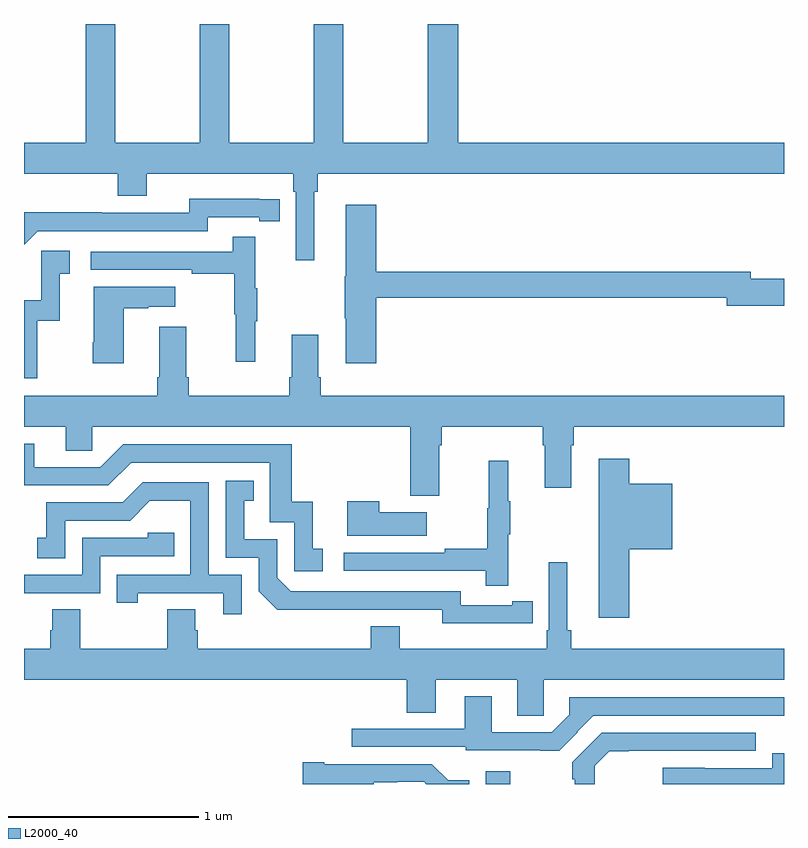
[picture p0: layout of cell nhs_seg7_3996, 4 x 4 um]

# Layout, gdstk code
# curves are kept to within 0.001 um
import gdstk
lib = gdstk.Library(unit=1e-6, precision=1e-09)
def R(c, l, rs):  # rectangles x0, y0, x1, y1
    for r in rs: c.add(gdstk.rectangle(r[:2], r[2:], *l))
def P(c, l, *ps):  # polygons
    for p in ps: c.add(gdstk.Polygon(p, *l))
L2000_40 = (2000, 40)

nhs_seg7_3996 = lib.new_cell('nhs_seg7_3996')
R(nhs_seg7_3996, L2000_40, [(365.429,1068,365.559,1068.067)])
P(nhs_seg7_3996, L2000_40, [(364.418,1071.116),(364.431,1071.116),(364.431,1070.757),(364.528,1070.757),(364.528,1071.116),(364.547,1071.116),(364.547,1071.212),(367,1071.212),(367,1071.376),(365.285,1071.376),(365.285,1072),(365.125,1072),(365.125,1071.376),(364.68,1071.376),(364.68,1072),(364.525,1072),(364.525,1071.376),(364.08,1071.376),(364.08,1072),(363.925,1072),(363.925,1071.376),(363.48,1071.376),(363.48,1072),(363.325,1072),(363.325,1071.376),(363,1071.376),(363,1071.212),(363.494,1071.212),(363.494,1071.095),(363.646,1071.095),(363.646,1071.212),(364.418,1071.212)],
  [(363.072,1070.91),(363.966,1070.91),(363.966,1070.982),(364.238,1070.982),(364.238,1070.962),(364.346,1070.962),(364.346,1071.078),(363.87,1071.079),(363.87,1071.006),(363.41,1071.006),(363.41,1071.008),(363.002,1071.008),(363,1071.006),(363,1070.838)],
  [(364.853,1070.56),(366.698,1070.56),(366.698,1070.518),(367,1070.518),(367,1070.66),(366.826,1070.66),(366.826,1070.696),(364.853,1070.696),(364.853,1071.049),(364.694,1071.049),(364.694,1070.673),(364.687,1070.673),(364.687,1070.452),(364.694,1070.452),(364.694,1070.214),(364.853,1070.214)],
  [(364.217,1070.435),(364.228,1070.435),(364.228,1070.609),(364.217,1070.609),(364.217,1070.881),(364.099,1070.881),(364.099,1070.802),(363.351,1070.802),(363.351,1070.706),(363.883,1070.706),(363.883,1070.686),(364.107,1070.686),(364.107,1070.472),(364.114,1070.472),(364.114,1070.223),(364.217,1070.223)],
  [(363.07,1070.439),(363.188,1070.439),(363.188,1070.685),(363.241,1070.685),(363.241,1070.806),(363.09,1070.806),(363.09,1070.547),(363,1070.547),(363,1070.136),(363.07,1070.136)],
  [(363.526,1070.503),(363.653,1070.503),(363.653,1070.513),(363.796,1070.513),(363.796,1070.617),(363.368,1070.617),(363.368,1070.326),(363.361,1070.326),(363.361,1070.214),(363.526,1070.214)],
  [(365.185,1069.784),(365.198,1069.784),(365.198,1069.88),(365.729,1069.88),(365.729,1069.784),(365.741,1069.784),(365.741,1069.56),(365.881,1069.56),(365.881,1069.784),(365.894,1069.784),(365.894,1069.88),(367,1069.88),(367,1070.044),(364.562,1070.044),(364.562,1070.14),(364.549,1070.14),(364.549,1070.365),(364.409,1070.365),(364.409,1070.14),(364.397,1070.14),(364.397,1070.044),(363.866,1070.044),(363.866,1070.14),(363.853,1070.14),(363.853,1070.407),(363.713,1070.407),(363.713,1070.14),(363.701,1070.14),(363.701,1070.044),(363,1070.044),(363,1069.88),(363.221,1069.88),(363.221,1069.753),(363.36,1069.753),(363.36,1069.88),(365.033,1069.88),(365.033,1069.518),(365.185,1069.518)],
  [(364.573,1069.239),(364.52,1069.239),(364.52,1069.486),(364.409,1069.486),(364.409,1069.788),(363.522,1069.788),(363.402,1069.668),(363.055,1069.668),(363.055,1069.791),(363,1069.791),(363,1069.572),(363.444,1069.572),(363.564,1069.692),(364.293,1069.692),(364.293,1069.377),(364.422,1069.377),(364.422,1069.119),(364.573,1069.119)],
  [(366.185,1069.235),(366.412,1069.235),(366.412,1069.579),(366.185,1069.579),(366.185,1069.711),(366.026,1069.711),(366.026,1068.876),(366.185,1068.876)],
  [(365.549,1069.315),(365.56,1069.315),(365.56,1069.489),(365.549,1069.489),(365.549,1069.702),(365.446,1069.702),(365.446,1069.452),(365.439,1069.452),(365.439,1069.238),(365.215,1069.238),(365.215,1069.218),(364.683,1069.218),(364.683,1069.122),(365.431,1069.122),(365.431,1069.044),(365.549,1069.044)],
  [(365.57,1068.846),(365.678,1068.846),(365.678,1068.962),(365.57,1068.962),(365.57,1068.942),(365.298,1068.942),(365.298,1069.014),(364.404,1069.014),(364.332,1069.086),(364.332,1069.287),(364.159,1069.287),(364.159,1069.491),(364.208,1069.491),(364.208,1069.597),(364.062,1069.597),(364.062,1069.191),(364.236,1069.191),(364.236,1069.014),(364.334,1068.917),(365.202,1068.918),(365.202,1068.845)],
  [(363.598,1068.954),(363.598,1069.005),(364.049,1069.005),(364.049,1068.894),(364.146,1068.894),(364.146,1069.101),(363.972,1069.101),(363.972,1069.587),(363.626,1069.587),(363.521,1069.482),(363.118,1069.482),(363.118,1069.297),(363.069,1069.297),(363.069,1069.188),(363.216,1069.188),(363.216,1069.386),(363.558,1069.386),(363.662,1069.49),(363.876,1069.49),(363.876,1069.101),(363.487,1069.101),(363.487,1068.954)],
  [(365.119,1069.429),(364.871,1069.429),(364.871,1069.489),(364.7,1069.489),(364.7,1069.307),(365.119,1069.307)],
  [(363.402,1069.2),(363.791,1069.2),(363.791,1069.323),(363.651,1069.323),(363.651,1069.296),(363.306,1069.296),(363.306,1069.101),(363,1069.101),(363,1069.005),(363.402,1069.005)],
  [(365.736,1068.548),(367,1068.548),(367,1068.712),(365.879,1068.712),(365.879,1068.808),(365.86,1068.808),(365.86,1069.168),(365.763,1069.168),(365.763,1068.808),(365.75,1068.808),(365.75,1068.712),(364.978,1068.712),(364.978,1068.829),(364.826,1068.829),(364.826,1068.712),(363.914,1068.712),(363.914,1068.81),(363.901,1068.81),(363.901,1068.92),(363.754,1068.92),(363.754,1068.712),(363.297,1068.712),(363.297,1068.92),(363.149,1068.92),(363.149,1068.81),(363.137,1068.81),(363.137,1068.712),(363,1068.712),(363,1068.548),(365.015,1068.548),(365.015,1068.376),(365.167,1068.376),(365.167,1068.548),(365.597,1068.548),(365.597,1068.358),(365.736,1068.358)],
  [(365.915,1068.272),(365.912,1068.275),(365.997,1068.36),(367,1068.36),(367,1068.456),(365.869,1068.456),(365.869,1068.364),(365.778,1068.273),(365.461,1068.273),(365.461,1068.463),(365.321,1068.463),(365.321,1068.291),(364.725,1068.291),(364.725,1068.195),(365.325,1068.195),(365.325,1068.177),(365.717,1068.177),(365.717,1068.175),(365.817,1068.175)],
  [(366.004,1068.096),(366.08,1068.172),(366.184,1068.172),(366.184,1068.174),(366.85,1068.174),(366.85,1068.27),(366.041,1068.27),(365.886,1068.115),(365.886,1068.026),(365.898,1068.026),(365.898,1068),(366.004,1068)],
  [(367,1068.163),(366.938,1068.163),(366.938,1068.084),(366.584,1068.084),(366.584,1068.085),(366.362,1068.085),(366.362,1068),(367,1068)],
  [(364.84,1068.009),(364.964,1068.009),(364.964,1068.012),(365.106,1068.012),(365.118,1068),(365.344,1068),(365.344,1068.019),(365.232,1068.019),(365.146,1068.105),(364.579,1068.105),(364.579,1068.114),(364.467,1068.114),(364.467,1068),(364.84,1068)])

lib.write_gds('nhs_seg7_3996.gds')
